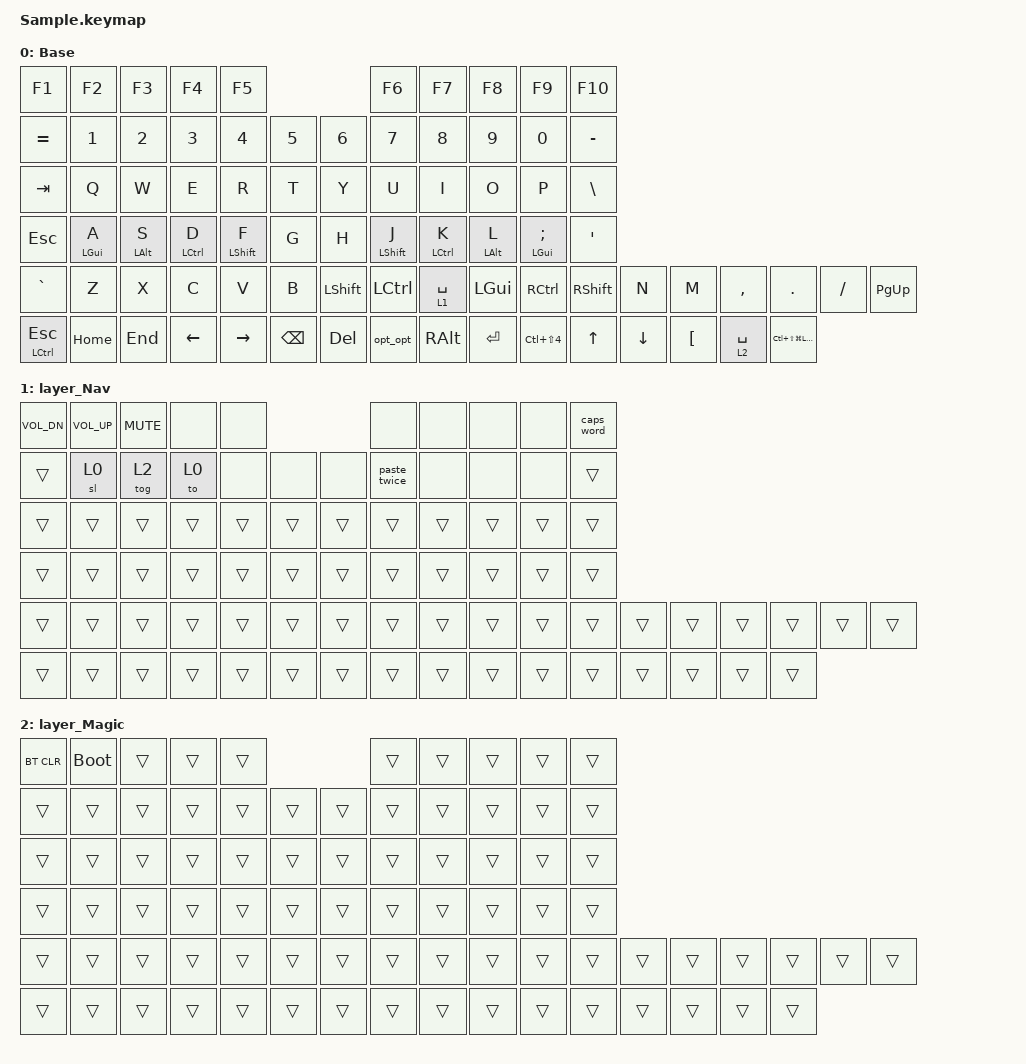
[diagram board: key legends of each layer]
/*
 * Written by hand in the style of the MoErgo Layout Editor's export, to cover what the template's
 * default keymap lacks: modelled hold-taps, macros and combos. Not an export.
 */

#include <behaviors.dtsi>
#include <dt-bindings/zmk/keys.h>
#include <dt-bindings/zmk/bt.h>
#include <dt-bindings/zmk/ext_power.h>
#include <dt-bindings/zmk/outputs.h>
#include <dt-bindings/zmk/rgb.h>
#include <dt-bindings/zmk/pointing.h>

#define HYPER LC(LS(LG(LALT)))
#define LAYER_Base 0
#define LAYER_Nav 1
#define LAYER_Magic 2

/ {
    behaviors {
        // Home-row mods: the other hand's keys are the only ones that can trigger a hold.
        hm: homerow_mods {
            compatible = "zmk,behavior-hold-tap";
            label = "HOMEROW_MODS";
            #binding-cells = <2>;
            flavor = "balanced";
            tapping-term-ms = <280>;
            quick-tap-ms = <175>;
            require-prior-idle-ms = <150>;
            hold-trigger-key-positions = <5 6 7 8 9 16 17 18 19 20 21 28 29 30 31 32 33 40 41 42 43 44 45>;
            hold-trigger-on-release;
            bindings = <&kp>, <&kp>;
        };

        lt_sp: layer_tap_space {
            compatible = "zmk,behavior-hold-tap";
            label = "LAYER_TAP_SPACE";
            #binding-cells = <2>;
            flavor = "tap-preferred";
            tapping-term-ms = <180>;
            bindings = <&mo>, <&kp>;
        };

        td_mute: tap_dance_mute {
            compatible = "zmk,behavior-tap-dance";
            label = "TD_MUTE";
            #binding-cells = <0>;
            tapping-term-ms = <200>;
            bindings = <&kp C_MUTE>, <&kp C_PP>;
        };
    };

    macros {
        opt_opt: macro_opt_opt {
            label = "OPT_OPT";
            compatible = "zmk,behavior-macro";
            #binding-cells = <0>;
            bindings
                = <&macro_tap &kp LA(LALT)>
                ;
        };

        paste_twice: macro_paste_twice {
            label = "PASTE_TWICE";
            compatible = "zmk,behavior-macro";
            #binding-cells = <0>;
            bindings
                = <&macro_press &kp LSHFT>
                , <&macro_tap &kp LG(V)>
                , <&macro_wait_time 40>
                , <&macro_release &kp LSHFT>
                , <&macro_tap &kp LG(V)>
                ;
        };

        timed: macro_with_timing {
            label = "TIMED";
            compatible = "zmk,behavior-macro";
            #binding-cells = <0>;
            wait-ms = <30>;
            tap-ms = <30>;
            bindings = <&kp A &kp B>;
        };
    };

    combos {
        compatible = "zmk,combos";

        combo_esc {
            timeout-ms = <40>;
            key-positions = <12 13>;
            layers = <(-1)>;
            bindings = <&kp ESC>;
        };

        combo_caps {
            key-positions = <35 36 37>;
            layers = <LAYER_Base LAYER_Nav>;
            bindings = <&caps_word>;
        };

        combo_slow {
            timeout-ms = <60>;
            key-positions = <26 27>;
            slow-release;
            bindings = <&kp TAB>;
        };
    };

    keymap {
        compatible = "zmk,keymap";

        layer_Base {
            display-name = "Base";
            bindings = <
                &kp F1  &kp F2  &kp F3  &kp F4  &kp F5  &kp F6  &kp F7  &kp F8  &kp F9  &kp F10
                &kp EQUAL  &kp N1  &kp N2  &kp N3  &kp N4  &kp N5  &kp N6  &kp N7  &kp N8  &kp N9  &kp N0  &kp MINUS
                &kp TAB  &kp Q  &kp W  &kp E  &kp R  &kp T  &kp Y  &kp U  &kp I  &kp O  &kp P  &kp BSLH
                &kp ESC  &hm LGUI A  &hm LALT S  &hm LCTRL D  &hm LSHIFT F  &kp G  &kp H  &hm LSHIFT J  &hm LCTRL K  &hm LALT L  &hm LGUI SEMI  &kp SQT
                &kp GRAVE  &kp Z  &kp X  &kp C  &kp V  &kp B  &kp LSHFT  &kp LCTRL  &lt 1 SPACE  &kp LGUI  &kp RCTRL  &kp RSHFT  &kp N  &kp M  &kp COMMA  &kp DOT  &kp FSLH  &kp PG_UP
                &mt LCTRL ESC  &kp HOME  &kp END  &kp LEFT  &kp RIGHT  &kp BSPC  &kp DEL  &opt_opt  &kp RALT  &kp RET  &kp LC(LS(N4))  &kp UP  &kp DOWN  &kp LBKT  &lt_sp 2 SPACE  &kp HYPER
            >;
        };
        layer_Nav {
            bindings = <
                &kp C_VOL_DN  &kp C_VOL_UP  &kp C_MUTE  &none  &none  &none  &none  &none  &none  &caps_word
                &trans  &sl 0  &tog 2  &to 0  &none  &none  &none  &paste_twice  &none  &none  &none  &trans
                &trans  &trans  &trans  &trans  &trans  &trans  &trans  &trans  &trans  &trans  &trans  &trans
                &trans  &trans  &trans  &trans  &trans  &trans  &trans  &trans  &trans  &trans  &trans  &trans
                &trans  &trans  &trans  &trans  &trans  &trans  &trans  &trans  &trans  &trans  &trans  &trans  &trans  &trans  &trans  &trans  &trans  &trans
                &trans  &trans  &trans  &trans  &trans  &trans  &trans  &trans  &trans  &trans  &trans  &trans  &trans  &trans  &trans  &trans
            >;
        };
        layer_Magic {
            bindings = <
                &bt BT_CLR  &bootloader  &trans  &trans  &trans  &trans  &trans  &trans  &trans  &trans
                &trans  &trans  &trans  &trans  &trans  &trans  &trans  &trans  &trans  &trans  &trans  &trans
                &trans  &trans  &trans  &trans  &trans  &trans  &trans  &trans  &trans  &trans  &trans  &trans
                &trans  &trans  &trans  &trans  &trans  &trans  &trans  &trans  &trans  &trans  &trans  &trans
                &trans  &trans  &trans  &trans  &trans  &trans  &trans  &trans  &trans  &trans  &trans  &trans  &trans  &trans  &trans  &trans  &trans  &trans
                &trans  &trans  &trans  &trans  &trans  &trans  &trans  &trans  &trans  &trans  &trans  &trans  &trans  &trans  &trans  &trans
            >;
        };
    };
};

&mt {
    tapping-term-ms = <175>;
};

&sk {
    release-after-ms = <900>;
};
